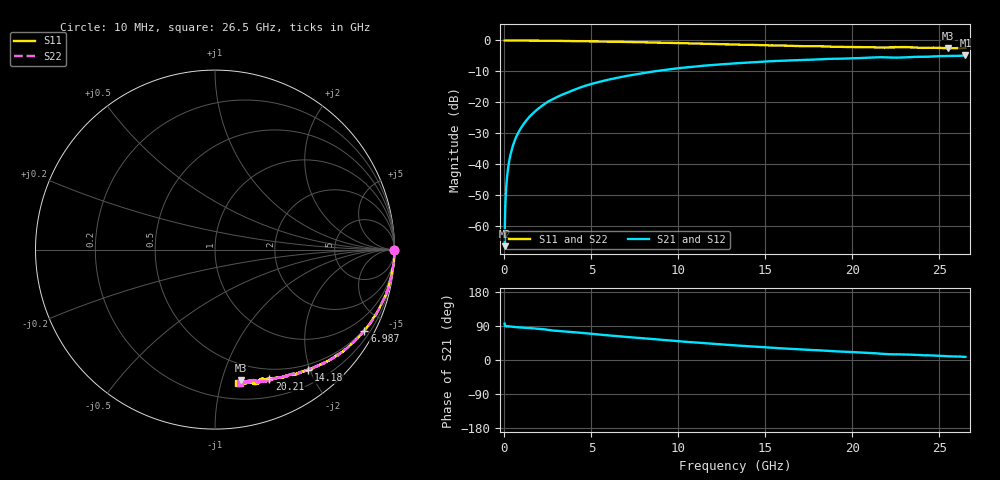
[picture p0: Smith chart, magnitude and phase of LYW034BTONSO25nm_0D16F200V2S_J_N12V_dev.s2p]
!Keysight Technologies,N5222B,MY61253708,A.15.00.15
!Date: Wednesday, June 19, 2024 08:43:41
!Correction: S11(C  2-Port  )
!S21(C  2-Port  )
!S12(C  2-Port  )
!S22(C  2-Port  )
!S2P File: Measurements: S11, S21, S12, S22:
# Hz S  RI  R 50
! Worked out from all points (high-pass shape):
!   2651 points, 10 MHz to 26.5 GHz, reference 50 ohm
!   highest |S21| = -4.86 dB at 26.5 GHz (marker M1); lowest = -66.5 dB at 10 MHz (marker M2)
!   |S21| within 3 dB of the highest: 12.11013 GHz to 12.13963 GHz (29.49 MHz wide, 0.243 % of centre); 12.16 GHz to end of sweep
!   lowest |S11| = -2.6 dB at 25.5 GHz (marker M3), VSWR 6.78, Z = 17.7 - j57.6 ohm
!   |S11| at or under -10 dB: nowhere
!   |S22| runs from -2.5 to 0.0 dB; largest |S21 - S12| = 0.0086
!   S11 on the Smith chart (normalised r, x): 10 MHz: open; 6.987 GHz: 0.45, -3.90; 14.18 GHz: 0.41, -1.97; 20.21 GHz: 0.39, -1.43; 26.5 GHz: 0.33, -1.13
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1e7  0.9984 -0.00248  -5.01e-05 0.000468  0.000183 0.00048  0.9984 -0.00102
7.997358e7  0.9998 -0.00627  4.75e-05 0.00329  -1.83e-05 0.0033  0.9993 -0.0058
1.599434e8  0.9997 -0.0128  9.11e-05 0.00656  8.67e-05 0.00656  0.9995 -0.012
2.099245e8  0.9997 -0.0162  0.000152 0.00861  0.000164 0.00861  0.9993 -0.0154
2.699019e8  0.9995 -0.0208  0.000277 0.0111  0.000252 0.011  0.9996 -0.0199
3.698642e8  0.9993 -0.0287  0.000456 0.0151  0.000434 0.0151  0.9991 -0.0278
5.098113e8  0.9988 -0.0387  0.000918 0.0208  0.000878 0.0207  0.999 -0.0378
8.596792e8  0.9971 -0.0648  0.00241 0.0348  0.00237 0.0348  0.9966 -0.064
1.469449e9  0.9877 -0.1114  0.0061 0.0594  0.00607 0.0593  0.9906 -0.1068
2.339121e9  0.9753 -0.1707  0.0154 0.0944  0.0155 0.0946  0.9769 -0.1704
3.208792e9  0.9591 -0.2315  0.0308 0.1249  0.0307 0.1251  0.9597 -0.2299
4.428332e9  0.9242 -0.3099  0.0551 0.1675  0.0551 0.1679  0.9265 -0.3063
6.987366e9  0.8324 -0.4511  0.1287 0.232  0.1296 0.2325  0.8348 -0.4505
8.846664e9  0.7529 -0.5326  0.1898 0.2616  0.1906 0.262  0.7558 -0.5303
1.3255e10  0.5583 -0.6531  0.333 0.2663  0.3347 0.266  0.5632 -0.6519
1.418465e10  0.5208 -0.6709  0.3582 0.2588  0.3591 0.2581  0.525 -0.6664
1.767333e10  0.3819 -0.7089  0.4385 0.2174  0.4415 0.2159  0.3945 -0.7074
2.021237e10  0.3024 -0.7186  0.4852 0.1814  0.4862 0.1787  0.317 -0.7205
2.209166e10  0.2542 -0.7237  0.5123 0.1403  0.5133 0.1382  0.2499 -0.7314
2.308129e10  0.2249 -0.7501  0.5165 0.1338  0.5168 0.134  0.2272 -0.7325
2.550038e10  0.1434 -0.7288  0.5526 0.0949  0.5538 0.0963  0.1645 -0.7361
2.65e10  0.1265 -0.743  0.5652 0.0832  0.5636 0.0805  0.1395 -0.7444
